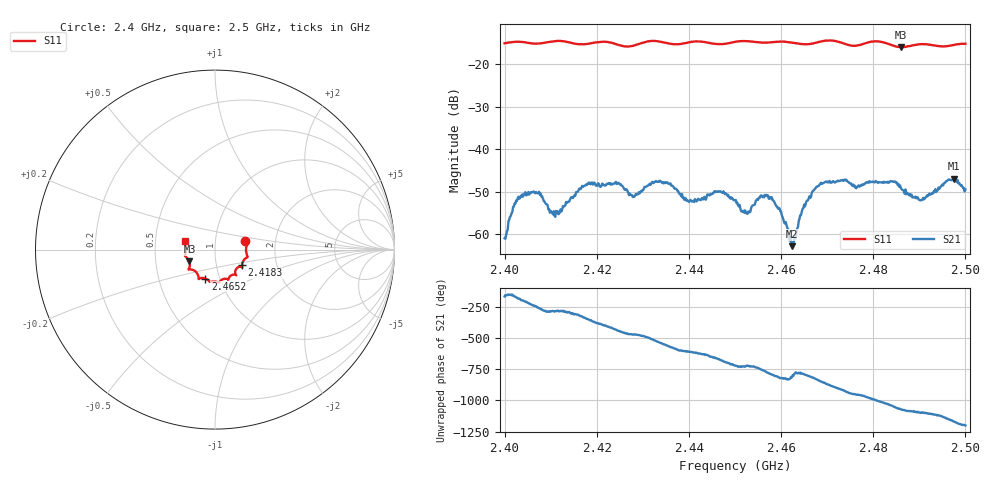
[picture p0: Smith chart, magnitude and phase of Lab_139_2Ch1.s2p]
# Hz S RI R 50
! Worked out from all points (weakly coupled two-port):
!   601 points, 2.4 GHz to 2.5 GHz, reference 50 ohm
!   highest |S21| = -46.90 dB at 2.4975 GHz (marker M1); lowest = -62.8 dB at 2.4623 GHz (marker M2)
!   lowest |S11| = -16.1 dB at 2.486 GHz (marker M3), VSWR 1.37, Z = 37.2 - j5.01 ohm
!   |S11| at or under -10 dB: start of sweep to end of sweep
!   S12 and S22 are empty: the file has one direction only
!   S11 on the Smith chart (normalised r, x): 2.4 GHz: 1.40, +0.13; 2.4183 GHz: 1.33, -0.24; 2.4652 GHz: 0.85, -0.28; 2.5 GHz: 0.71, +0.07
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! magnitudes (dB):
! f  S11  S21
! 2.4 GHz  -15.2  -60.9
! 2.4023 GHz  -14.8  -52.8
! 2.404 GHz  -14.9  -51.2
! 2.4073 GHz  -15.2  -50.2
! 2.4113 GHz  -14.6  -54.7
! 2.4167 GHz  -15.4  -49.1
! 2.4183 GHz  -15.2  -47.8
! 2.4278 GHz  -15.8  -51.3
! 2.4333 GHz  -14.7  -47.6
! 2.44 GHz  -14.9  -52.4
! 2.45 GHz  -14.8  -52.0
! 2.4528 GHz  -14.7  -54.7
! 2.4575 GHz  -15.0  -51.7
! 2.4623 GHz  -15.0  -62.8
! 2.4652 GHz  -15.4  -53.4
! 2.4667 GHz  -15.3  -50.2
! 2.47 GHz  -14.5  -47.6
! 2.4833 GHz  -15.3  -47.9
! 2.486 GHz  -16.1  -49.2
! 2.4905 GHz  -15.4  -52.0
! 2.4975 GHz  -15.6  -46.9
! 2.5 GHz  -15.3  -49.4
